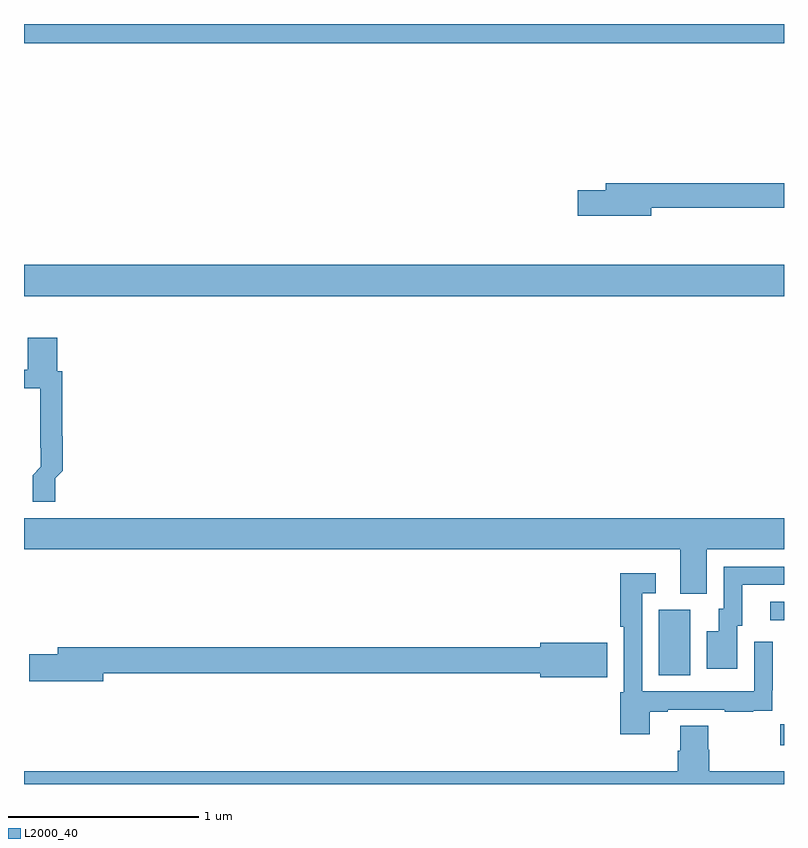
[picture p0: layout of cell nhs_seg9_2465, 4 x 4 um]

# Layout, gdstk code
import gdstk
lib = gdstk.Library(unit=1e-6, precision=1e-09)
def R(c, l, rs):  # rectangles x0, y0, x1, y1
    for r in rs: c.add(gdstk.rectangle(r[:2], r[2:], *l))
def P(c, l, *ps):  # polygons
    for p in ps: c.add(gdstk.Polygon(p, *l))
L2000_40 = (2000, 40)

nhs_seg9_2465 = lib.new_cell('nhs_seg9_2465')
R(nhs_seg9_2465, L2000_40, [(254.979,1212.704,255,1212.814), (254.342,1213.072,254.506,1213.416), (254.928,1213.362,255,1213.458), (251,1215.068,255,1215.232), (251,1216.4,255,1216.5)])
P(nhs_seg9_2465, L2000_40, [(254.302,1215.534),(255,1215.534),(255,1215.662),(254.063,1215.662),(254.063,1215.626),(253.914,1215.626),(253.914,1215.491),(254.302,1215.491)],
  [(251.165,1214.109),(251.204,1214.148),(251.204,1214.33),(251.201,1214.33),(251.201,1214.673),(251.174,1214.673),(251.174,1214.848),(251.021,1214.848),(251.021,1214.68),(251,1214.68),(251,1214.583),(251.085,1214.583),(251.085,1214.269),(251.088,1214.269),(251.088,1214.169),(251.045,1214.126),(251.045,1213.986),(251.165,1213.986)],
  [(254.593,1213.736),(255,1213.736),(255,1213.9),(251,1213.9),(251,1213.736),(254.453,1213.736),(254.453,1213.501),(254.593,1213.501)],
  [(254.755,1213.332),(254.779,1213.332),(254.779,1213.548),(255,1213.548),(255,1213.644),(254.682,1213.644),(254.682,1213.422),(254.657,1213.422),(254.657,1213.303),(254.594,1213.303),(254.594,1213.107),(254.755,1213.107)],
  [(254.293,1212.879),(254.389,1212.879),(254.389,1212.891),(254.689,1212.891),(254.689,1212.879),(254.837,1212.879),(254.837,1212.885),(254.939,1212.885),(254.939,1212.994),(254.94,1212.994),(254.94,1213.249),(254.844,1213.249),(254.844,1212.987),(254.253,1212.987),(254.253,1213.503),(254.326,1213.503),(254.326,1213.609),(254.137,1213.609),(254.137,1213.327),(254.157,1213.327),(254.157,1212.984),(254.137,1212.984),(254.137,1212.762),(254.293,1212.762)],
  [(251.416,1213.084),(253.718,1213.084),(253.718,1213.061),(254.071,1213.061),(254.071,1213.244),(253.718,1213.244),(253.718,1213.22),(251.177,1213.22),(251.177,1213.184),(251.028,1213.184),(251.028,1213.042),(251.416,1213.042)],
  [(255,1212.568),(254.606,1212.568),(254.606,1212.681),(254.601,1212.681),(254.601,1212.806),(254.453,1212.806),(254.453,1212.674),(254.441,1212.674),(254.441,1212.568),(251,1212.568),(251,1212.5),(255,1212.5)])

lib.write_gds('nhs_seg9_2465.gds')
